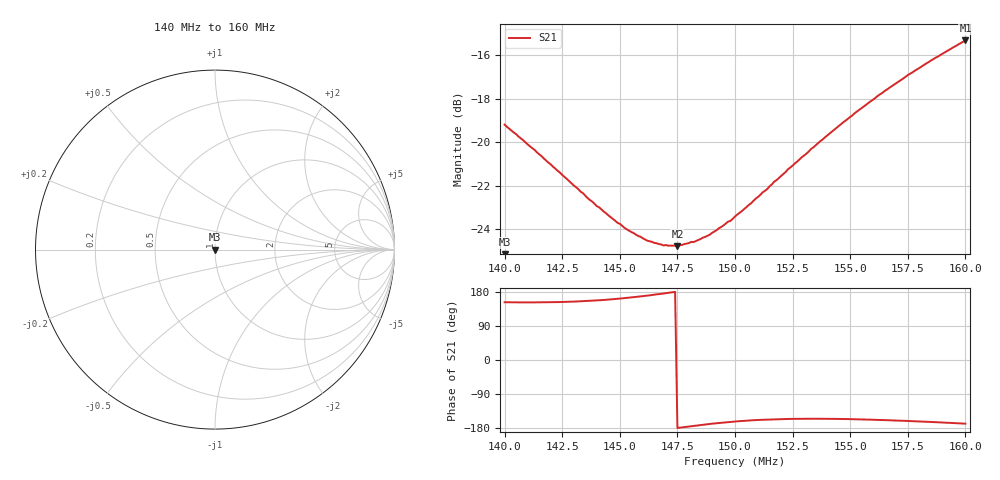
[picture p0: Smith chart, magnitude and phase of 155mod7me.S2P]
!Agilent Technologies,E5072A,MY51200456,A.01.14
!Date: Tue Nov 19 12:32:22 2019
!Data & Calibration Information:
!Freq	S11:NONE(--)	S21:NONE(--)	S12:NONE(--)	S22:NONE(--)
!PortZ  Port1:50+j0  Port2:50+j0
!Above PortZ is port z conversion or system Z0 setting when saving the data.
!When reading, reference impedance value at option line is always used.
# Hz S RI R 50
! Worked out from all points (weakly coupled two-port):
!   201 points, 140 MHz to 160 MHz, reference 50 ohm
!   highest |S21| = -15.32 dB at 160 MHz (marker M1); lowest = -24.8 dB at 147.5 MHz (marker M2)
!   lowest |S11| = - dB at 140 MHz (marker M3), VSWR 1.00, Z = 50 + j0 ohm
!   |S11| at or under -10 dB: start of sweep to end of sweep
!   S12 and S22 are empty: the file has one direction only
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1.4e8  0 0  -0.0973 0.0508  0 0  0 0
1.413e8  0 0  -0.0849 0.045  0 0  0 0
1.434e8  0 0  -0.0694 0.032  0 0  0 0
1.44e8  0 0  -0.0658 0.0276  0 0  0 0
1.452e8  0 0  -0.0609 0.0184  0 0  0 0
1.462e8  0 0  -0.0585 0.0104  0 0  0 0
1.467e8  0 0  -0.058 0.00626  0 0  0 0
1.469e8  0 0  -0.0578 0.00439  0 0  0 0
1.475e8  0 0  -0.0577 -0.00067  0 0  0 0
1.481e8  0 0  -0.0588 -0.00553  0 0  0 0
1.482e8  0 0  -0.0587 -0.00626  0 0  0 0
1.489e8  0 0  -0.0602 -0.0118  0 0  0 0
1.497e8  0 0  -0.0631 -0.0183  0 0  0 0
1.498e8  0 0  -0.0632 -0.019  0 0  0 0
1.5e8  0 0  -0.0643 -0.0205  0 0  0 0
1.507e8  0 0  -0.0677 -0.0256  0 0  0 0
1.523e8  0 0  -0.079 -0.0358  0 0  0 0
1.534e8  0 0  -0.0882 -0.0412  0 0  0 0
1.552e8  0 0  -0.1068 -0.0469  0 0  0 0
1.567e8  0 0  -0.1246 -0.0477  0 0  0 0
1.583e8  0 0  -0.1451 -0.0444  0 0  0 0
1.6e8  0 0  -0.1676 -0.0357  0 0  0 0
